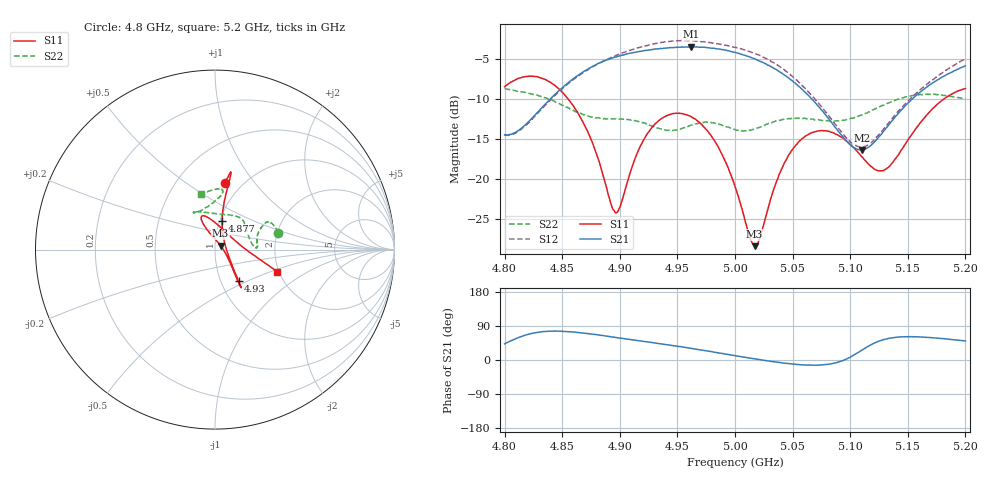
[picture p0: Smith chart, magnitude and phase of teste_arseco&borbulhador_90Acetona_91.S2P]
! Network Analyzer HP8722D
! Hewlett-Packard
! Data name: Linha & Wilkinson
! Saver's name: Rodrigo Anjos
! Comments: Teste da utilização de aquisição
! continua pelo VNA HP8722D
! Time and date: 17/4/2025 11:48
!  Frequency  S11  S21  S12  S22
# HZ  S  MA R 50
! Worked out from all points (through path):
!   401 points, 4.8 GHz to 5.2 GHz, reference 50 ohm
!   highest |S21| = -3.43 dB at 4.962 GHz (marker M1); lowest = -16.4 dB at 5.11 GHz (marker M2)
!   lowest |S11| = -28.4 dB at 5.017 GHz (marker M3), VSWR 1.08, Z = 53.2 + j2.26 ohm
!   |S11| at or under -10 dB: 4.855 GHz to 5.181 GHz (326 MHz wide, 6.5 % of centre)
!   |S22| runs from -14.0 to -8.7 dB; largest |S21 - S12| = 0.24
!   S11 on the Smith chart (normalised r, x): 4.8 GHz: 0.83, +0.72; 4.877 GHz: 1.03, +0.33; 4.93 GHz: 1.21, -0.45; 5.2 GHz: 1.96, -0.56
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4.8e9  0.3778 81.5  0.1893 42.6  0.1888 2.7  0.3659 14.8
4.834e9  0.4225 78.1  0.2879 75.1  0.2827 38.6  0.324 27.9
4.867e9  0.2343 78.8  0.4624 71.6  0.4559 42.0  0.2564 20.4
4.877e9  0.1628 75.8  0.5101 67.9  0.5065 41.0  0.2439 15.8
4.892e9  0.07092 44.7  0.5663 61.5  0.5736 38.7  0.2376 8.8
4.897e9  0.06136 13.5  0.5811 59.3  0.5959 37.9  0.2376 6.5
4.916e9  0.1503 -46.6  0.627 51.1  0.6632 33.9  0.2287 2.5
4.93e9  0.2189 -53.2  0.6495 45.1  0.7005 29.6  0.2115 7.0
4.934e9  0.2325 -54.3  0.6536 43.3  0.7128 28.4  0.2075 9.9
4.962e9  0.2451 -55.0  0.6734 30.7  0.7341 17.8  0.2174 38.9
4.983e9  0.1698 -50.3  0.6549 20.3  0.7052 9.8  0.2227 55.1
5e9  0.0899 -34.5  0.6198 11.4  0.6681 3.7  0.2036 73.2
5.017e9  0.0379 34.1  0.5657 3.1  0.6105 -2.6  0.2057 96.4
5.021e9  0.04145 63.3  0.5479 1.2  0.5963 -4.3  0.21 101.3
5.044e9  0.1299 112.8  0.4427 -8.6  0.4736 -11.8  0.237 117.7
5.067e9  0.195 113.2  0.3156 -13.6  0.3313 -13.4  0.2367 119.4
5.087e9  0.1914 105.5  0.2101 -7.8  0.2205 -4.2  0.2309 111.6
5.11e9  0.1374 83.2  0.1517 25.7  0.1587 31.9  0.2514 96.1
5.123e9  0.1136 55.6  0.1763 47.5  0.1826 55.6  0.2779 88.2
5.134e9  0.12 26.5  0.2203 57.4  0.2272 67.4  0.3007 83.7
5.17e9  0.2678 -13.4  0.3919 59.1  0.4093 77.0  0.3398 86.6
5.2e9  0.3683 -19.4  0.511 50.2  0.5658 74.4  0.3176 104.4
